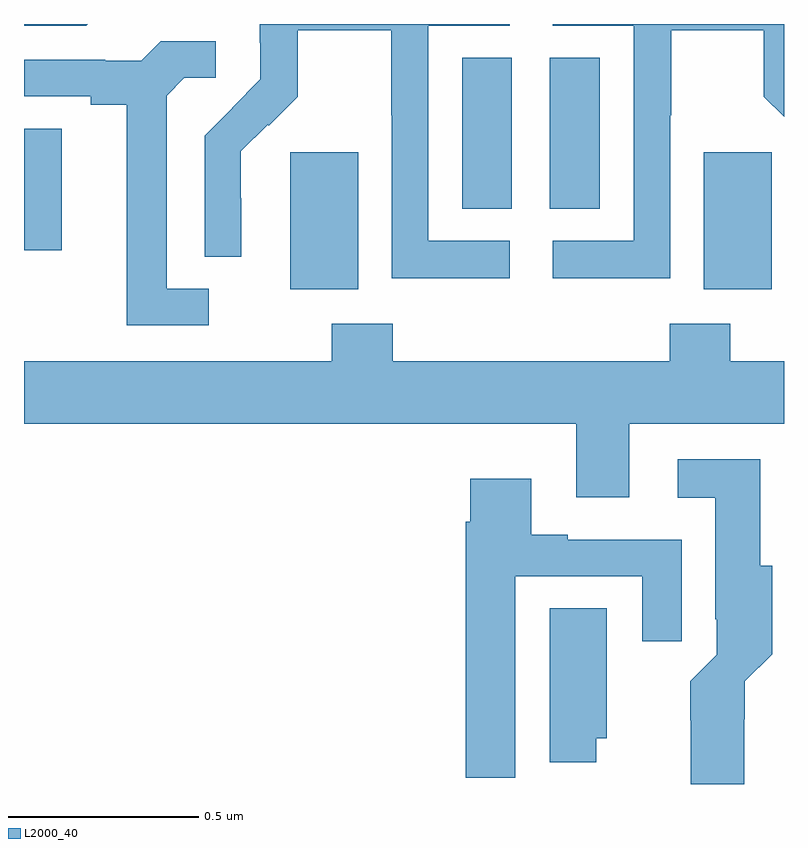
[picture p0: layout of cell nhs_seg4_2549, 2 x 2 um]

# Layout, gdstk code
import gdstk
lib = gdstk.Library(unit=1e-6, precision=1e-09)
def R(c, l, rs):  # rectangles x0, y0, x1, y1
    for r in rs: c.add(gdstk.rectangle(r[:2], r[2:], *l))
def P(c, l, *ps):  # polygons
    for p in ps: c.add(gdstk.Polygon(p, *l))
L2000_40 = (2000, 40)

nhs_seg4_2549 = lib.new_cell('nhs_seg4_2549')
R(nhs_seg4_2549, L2000_40, [(142.7,769.202,142.879,769.563), (143.789,769.202,143.968,769.563), (142,769.305,142.099,769.625), (143.153,769.414,143.284,769.811), (143.384,769.414,143.515,769.811)])
P(nhs_seg4_2549, L2000_40, [(143.278,769.329),(143.064,769.329),(143.064,769.896),(143.278,769.896),(143.278,769.9),(142.62,769.9),(142.62,769.851),(142.622,769.851),(142.622,769.754),(142.548,769.68),(142.549,769.679),(142.476,769.606),(142.476,769.288),(142.572,769.288),(142.572,769.442),(142.571,769.442),(142.571,769.565),(142.641,769.635),(142.644,769.632),(142.721,769.709),(142.721,769.884),(142.966,769.884),(142.966,769.66),(142.968,769.66),(142.968,769.231),(143.278,769.231)],
  [(143.7,769.66),(143.703,769.66),(143.703,769.884),(143.947,769.884),(143.947,769.709),(144,769.656),(144,769.9),(143.391,769.9),(143.391,769.896),(143.604,769.896),(143.604,769.329),(143.391,769.329),(143.391,769.231),(143.7,769.231)],
  [(142.168,769.9),(142,769.9),(142,769.896),(142.164,769.896)],
  [(142.486,769.203),(142.375,769.203),(142.375,769.711),(142.422,769.758),(142.504,769.758),(142.504,769.855),(142.36,769.855),(142.308,769.803),(142.214,769.803),(142.214,769.806),(142,769.806),(142,769.71),(142.175,769.71),(142.175,769.688),(142.271,769.688),(142.271,769.107),(142.486,769.107)],
  [(143.593,768.848),(144,768.848),(144,769.012),(143.859,769.012),(143.859,769.111),(143.699,769.111),(143.699,769.012),(142.97,769.012),(142.97,769.111),(142.81,769.111),(142.81,769.012),(142,769.012),(142,768.848),(143.453,768.848),(143.453,768.654),(143.593,768.654)],
  [(143.896,768.071),(143.897,768.071),(143.897,768.17),(143.969,768.242),(143.969,768.474),(143.938,768.474),(143.938,768.754),(143.721,768.754),(143.721,768.653),(143.819,768.653),(143.819,768.334),(143.823,768.334),(143.823,768.24),(143.753,768.17),(143.753,768.068),(143.754,768.068),(143.754,767.9),(143.896,767.9)],
  [(143.293,768.447),(143.627,768.447),(143.627,768.276),(143.731,768.276),(143.731,768.543),(143.431,768.543),(143.431,768.556),(143.335,768.556),(143.335,768.703),(143.174,768.703),(143.174,768.59),(143.162,768.59),(143.162,767.916),(143.293,767.916)],
  [(143.506,768.021),(143.533,768.021),(143.533,768.362),(143.384,768.362),(143.384,767.957),(143.506,767.957)])

lib.write_gds('nhs_seg4_2549.gds')
